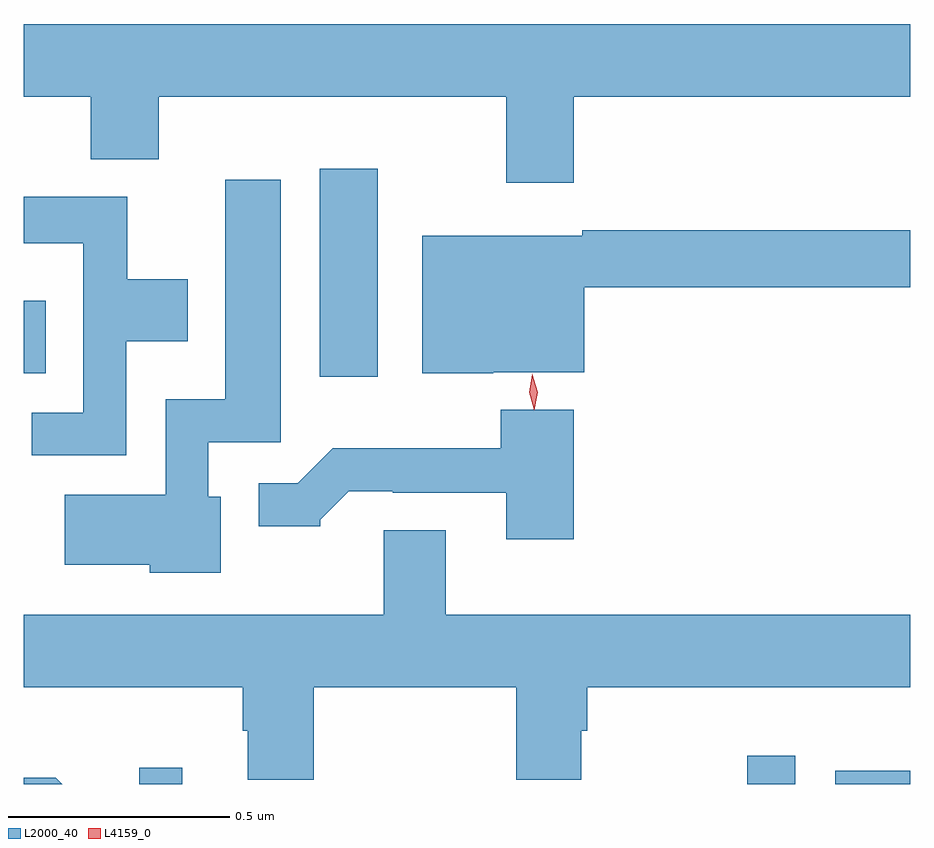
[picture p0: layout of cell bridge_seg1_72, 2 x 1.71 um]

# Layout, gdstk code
import gdstk
lib = gdstk.Library(unit=1e-6, precision=1e-09)
def R(c, l, rs):  # rectangles x0, y0, x1, y1
    for r in rs: c.add(gdstk.rectangle(r[:2], r[2:], *l))
def P(c, l, *ps):  # polygons
    for p in ps: c.add(gdstk.Polygon(p, *l))
L2000_40 = (2000, 40)
L4159_0 = (4159, 0)

bridge_seg1_72 = lib.new_cell('bridge_seg1_72')
R(bridge_seg1_72, L2000_40, [(509.046,535.53,509.143,535.567), (510.417,535.53,510.525,535.594), (510.615,535.53,510.785,535.56), (509.453,536.448,509.584,536.917), (508.785,536.456,508.835,536.62)])
P(bridge_seg1_72, L2000_40, [(510.026,537.08),(510.785,537.08),(510.785,537.244),(508.785,537.244),(508.785,537.08),(508.937,537.08),(508.937,536.939),(509.09,536.939),(509.09,537.08),(509.873,537.08),(509.873,536.886),(510.026,536.886)],
  [(509.23,536.178),(509.202,536.178),(509.202,536.301),(509.365,536.301),(509.365,536.893),(509.24,536.893),(509.24,536.398),(509.106,536.398),(509.106,536.182),(508.878,536.182),(508.878,536.024),(509.07,536.024),(509.07,536.006),(509.23,536.006)],
  [(509.016,536.528),(509.155,536.528),(509.155,536.668),(509.019,536.668),(509.019,536.854),(508.785,536.854),(508.785,536.75),(508.92,536.75),(508.92,536.367),(508.803,536.367),(508.803,536.271),(509.016,536.271)],
  [(509.844,536.459),(510.049,536.459),(510.049,536.65),(510.785,536.65),(510.785,536.779),(510.045,536.779),(510.045,536.767),(509.684,536.767),(509.684,536.456),(509.844,536.456)],
  [(510.026,536.374),(509.861,536.374),(509.861,536.287),(509.482,536.287),(509.403,536.208),(509.315,536.208),(509.315,536.111),(509.454,536.111),(509.454,536.126),(509.518,536.19),(509.617,536.19),(509.617,536.187),(509.873,536.187),(509.873,536.082),(510.026,536.082)],
  [(509.439,535.748),(509.896,535.748),(509.896,535.54),(510.043,535.54),(510.043,535.65),(510.056,535.65),(510.056,535.748),(510.785,535.748),(510.785,535.912),(509.737,535.912),(509.737,536.102),(509.597,536.102),(509.597,535.912),(508.785,535.912),(508.785,535.748),(509.279,535.748),(509.279,535.65),(509.291,535.65),(509.291,535.54),(509.439,535.54)],
  [(508.858,535.544),(508.785,535.544),(508.785,535.53),(508.872,535.53)])
P(bridge_seg1_72, L4159_0, [(509.937,536.373),(509.937,536.373),(509.925,536.413),(509.932,536.454),(509.932,536.455),(509.932,536.454),(509.945,536.414),(509.937,536.373)])

lib.write_gds('bridge_seg1_72.gds')
